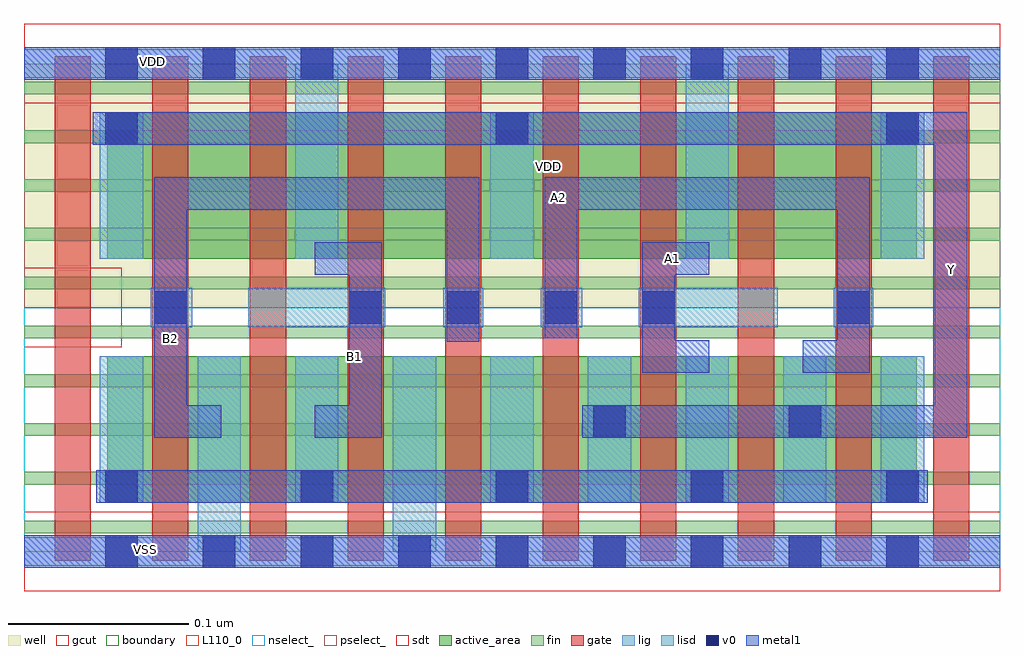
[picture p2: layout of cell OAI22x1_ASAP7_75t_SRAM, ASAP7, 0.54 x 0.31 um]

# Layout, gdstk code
import gdstk
lib = gdstk.Library(unit=1e-6, precision=1e-09)
def R(c, l, rs):  # rectangles x0, y0, x1, y1
    for r in rs: c.add(gdstk.rectangle(r[:2], r[2:], *l))
def A(c, l, x, y, w, h, nx, ny, dx, dy):  # array of equal rectangles
    R(c, l, [(x+i*dx, y+j*dy, x+i*dx+w, y+j*dy+h) for i in range(nx) for j in range(ny)])
def P(c, l, *ps):  # polygons
    for p in ps: c.add(gdstk.Polygon(p, *l))
well = (1, 0)
fin = (2, 0)
gate = (7, 0)
gcut = (10, 0)
active_area = (11, 0)
nselect_ = (12, 0)
pselect_ = (13, 0)
lig = (16, 0)
lisd = (17, 0)
v0 = (18, 0)
metal1 = (19, 0)
sdt = (88, 0)
boundary = (100, 0)
L110_0 = (110, 0)

oai22x1_asap7_75t_sram = lib.new_cell('OAI22x1_ASAP7_75t_SRAM')
R(oai22x1_asap7_75t_sram, well, [(0,0.135,0.54,0.27)])
A(oai22x1_asap7_75t_sram, fin, 0, 0.01, 0.54, 0.007, 1, 10, 0, 0.027)
A(oai22x1_asap7_75t_sram, gate, 0.017, -0.005, 0.02, 0.279, 10, 1, 0.054, 0)
R(oai22x1_asap7_75t_sram, gcut, [(0,-0.022,0.54,0.022), (0,0.113,0.054,0.157), (0,0.248,0.54,0.292)])
R(oai22x1_asap7_75t_sram, active_area, [(0.046,0.027,0.494,0.108), (0.046,0.162,0.494,0.243)])
R(oai22x1_asap7_75t_sram, nselect_, [(0,0,0.54,0.135)])
R(oai22x1_asap7_75t_sram, pselect_, [(0,0.135,0.54,0.27)])
R(oai22x1_asap7_75t_sram, lig, [(0,-0.008,0.54,0.008), (0.07,0.124,0.093,0.146), (0.124,0.124,0.2,0.146), (0.232,0.124,0.254,0.146), (0.286,0.124,0.309,0.146), (0.34,0.124,0.417,0.146), (0.448,0.124,0.47,0.146), (0,0.262,0.54,0.278)])
A(oai22x1_asap7_75t_sram, lisd, 0.042, 0.027, 0.024, 0.081, 3, 1, 0.108, 0)
A(oai22x1_asap7_75t_sram, lisd, 0.312, 0.027, 0.024, 0.081, 4, 1, 0.054, 0)
A(oai22x1_asap7_75t_sram, lisd, 0.042, 0.162, 0.024, 0.081, 3, 1, 0.216, 0)
R(oai22x1_asap7_75t_sram, lisd, [(0.096,0,0.12,0.108), (0.204,0,0.228,0.108), (0.15,0.162,0.174,0.27), (0.366,0.162,0.39,0.27)])
A(oai22x1_asap7_75t_sram, v0, 0.045, -0.009, 0.018, 0.018, 9, 2, 0.054, 0.27)
A(oai22x1_asap7_75t_sram, v0, 0.045, 0.027, 0.018, 0.018, 5, 1, 0.108, 0)
A(oai22x1_asap7_75t_sram, v0, 0.18, 0.126, 0.018, 0.018, 4, 1, 0.054, 0)
A(oai22x1_asap7_75t_sram, v0, 0.045, 0.225, 0.018, 0.018, 3, 1, 0.216, 0)
R(oai22x1_asap7_75t_sram, v0, [(0.315,0.063,0.333,0.081), (0.423,0.063,0.441,0.081), (0.072,0.126,0.09,0.144), (0.45,0.126,0.468,0.144)])
R(oai22x1_asap7_75t_sram, metal1, [(0,-0.009,0.54,0.009), (0.04,0.027,0.5,0.045), (0,0.261,0.54,0.279)])
P(oai22x1_asap7_75t_sram, metal1, [(0.468,0.099),(0.431,0.099),(0.431,0.117),(0.45,0.117),(0.45,0.189),(0.306,0.189),(0.306,0.118),(0.288,0.118),(0.288,0.207),(0.468,0.207)],
  [(0.379,0.153),(0.36,0.153),(0.36,0.117),(0.379,0.117),(0.379,0.099),(0.342,0.099),(0.342,0.171),(0.379,0.171)],
  [(0.252,0.116),(0.234,0.116),(0.234,0.189),(0.09,0.189),(0.09,0.081),(0.109,0.081),(0.109,0.063),(0.072,0.063),(0.072,0.207),(0.252,0.207)],
  [(0.198,0.063),(0.161,0.063),(0.161,0.081),(0.18,0.081),(0.18,0.153),(0.161,0.153),(0.161,0.171),(0.198,0.171)],
  [(0.522,0.063),(0.309,0.063),(0.309,0.081),(0.504,0.081),(0.504,0.225),(0.038,0.225),(0.038,0.243),(0.522,0.243)])
A(oai22x1_asap7_75t_sram, sdt, 0.042, 0.027, 0.024, 0.081, 9, 1, 0.054, 0)
A(oai22x1_asap7_75t_sram, sdt, 0.042, 0.162, 0.024, 0.081, 5, 1, 0.108, 0)
R(oai22x1_asap7_75t_sram, boundary, [(0,0,0.54,0.27)])
R(oai22x1_asap7_75t_sram, L110_0, [(0,0,0.54,0.27)])
oai22x1_asap7_75t_sram.add(gdstk.Label('Y', (0.513,0.156), layer=19, texttype=251))
oai22x1_asap7_75t_sram.add(gdstk.Label('A1', (0.359,0.162), layer=19, texttype=251))
oai22x1_asap7_75t_sram.add(gdstk.Label('B1', (0.183,0.108), layer=19, texttype=251))
oai22x1_asap7_75t_sram.add(gdstk.Label('A2', (0.296,0.196), layer=19, texttype=251))
oai22x1_asap7_75t_sram.add(gdstk.Label('VSS', (0.067,0.001), layer=19, texttype=251))
oai22x1_asap7_75t_sram.add(gdstk.Label('VDD', (0.071,0.271), layer=19, texttype=251))
oai22x1_asap7_75t_sram.add(gdstk.Label('B2', (0.081,0.118), layer=19, texttype=251))
oai22x1_asap7_75t_sram.add(gdstk.Label('VDD', (0.29,0.213), layer=1, texttype=251))
oai22x1_asap7_75t_sram.add(gdstk.Label('VSS', (0.207,-0.046), layer=3, texttype=251))

lib.write_gds('OAI22x1_ASAP7_75t_SRAM.gds')
